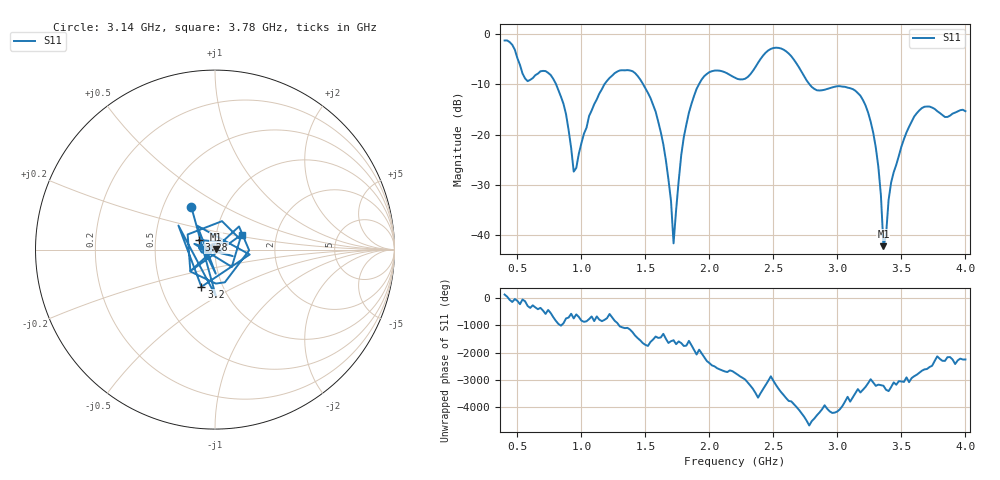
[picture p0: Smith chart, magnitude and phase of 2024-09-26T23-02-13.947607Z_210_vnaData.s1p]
!Created with skrf (http://scikit-rf.org).
# Hz S RI R 50.0
!freq ReS11 ImS11
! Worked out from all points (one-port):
!   181 points, 400 MHz to 4 GHz, reference 50 ohm
!   lowest |S11| = -42.3 dB at 3.36 GHz (marker M1), VSWR 1.02, Z = 50.6 + j0.419 ohm
!   |S11| at or under -10 dB: 802.5 MHz to 1.179 GHz (376.4 MHz wide, 38 % of centre); 1.483 GHz to 1.918 GHz (434.6 MHz wide, 25.6 % of centre); 2.783 GHz to end of sweep
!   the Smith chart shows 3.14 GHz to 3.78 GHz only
!   S11 on the Smith chart (normalised r, x): 3.14 GHz: 0.69, +0.36; 3.2 GHz: 0.79, -0.35; 3.28 GHz: 0.83, +0.09; 3.78 GHz: 1.33, +0.23
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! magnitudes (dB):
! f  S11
! 400 MHz  -1.2
! 560 MHz  -8.8
! 720 MHz  -7.3
! 860 MHz  -13.9
! 940 MHz  -27.4
! 1.1 GHz  -13.9
! 1.3 GHz  -7.2
! 1.44 GHz  -8.3
! 1.58 GHz  -15.4
! 1.66 GHz  -25.1
! 1.72 GHz  -41.7
! 1.76 GHz  -29.3
! 1.82 GHz  -18.0
! 1.92 GHz  -9.9
! 2.2 GHz  -8.7
! 2.5 GHz  -2.7
! 2.66 GHz  -5.0
! 2.84 GHz  -11.2
! 3.1 GHz  -10.7
! 3.14 GHz  -11.2
! 3.2 GHz  -13.1
! 3.28 GHz  -19.7
! 3.32 GHz  -26.5
! 3.36 GHz  -42.3
! 3.42 GHz  -29.5
! 3.56 GHz  -18.4
! 3.78 GHz  -15.3
! 4 GHz  -15.3
